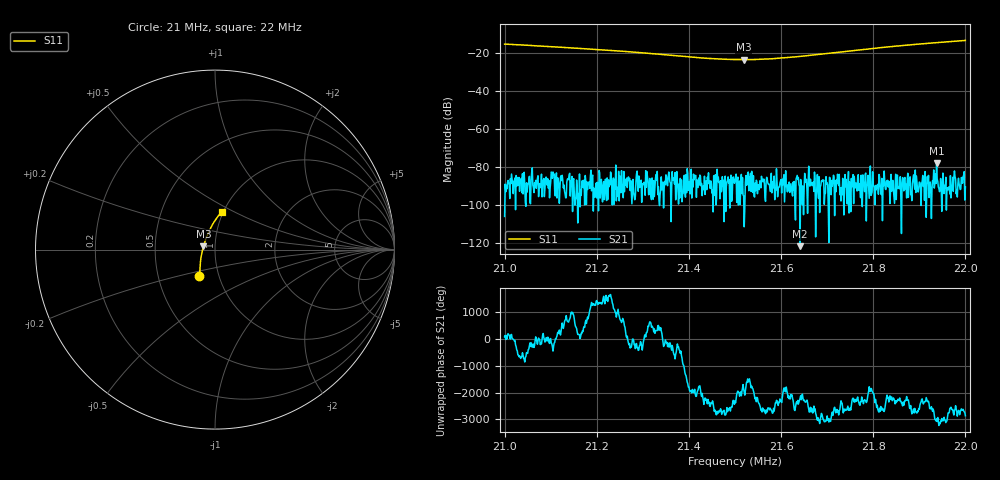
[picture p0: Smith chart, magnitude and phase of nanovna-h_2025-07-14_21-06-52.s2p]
! NanoVNA-App by OneOfEleven et al v1.1.209 (+OD18)
! Date: 2025-07-14 21:06:54
! Start: 21MHz Stop: 22MHz Points: 801
! S-Parameter data: F S11 S21 S12 S22
# Hz S RI R 50
!  Frequency  S11_Real  S11_Imag  S21_Real  S21_Imag  S12_Real  S12_Imag  S22_Real  S22_Imag
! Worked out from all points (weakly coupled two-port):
!   801 points, 21 MHz to 22 MHz, reference 50 ohm
!   highest |S21| = -78.01 dB at 21.938 MHz (marker M1); lowest = -121.6 dB at 21.641 MHz (marker M2)
!   lowest |S11| = -23.5 dB at 21.519 MHz (marker M3), VSWR 1.14, Z = 43.9 + j1.53 ohm
!   |S11| at or under -10 dB: start of sweep to end of sweep
!   S12 and S22 are empty: the file has one direction only
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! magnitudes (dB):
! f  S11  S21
! 21 MHz  -15.4  -106.0
! 21.055 MHz  -16.0  -98.5
! 21.168 MHz  -17.7  -88.3
! 21.235 MHz  -18.8  -89.1
! 21.236 MHz  -18.8  -85.8
! 21.255 MHz  -19.1  -90.9
! 21.334 MHz  -20.6  -90.3
! 21.436 MHz  -22.8  -89.7
! 21.47 MHz  -23.3  -93.1
! 21.5 MHz  -23.5  -87.1
! 21.519 MHz  -23.5  -95.2
! 21.544 MHz  -23.5  -88.4
! 21.576 MHz  -23.1  -92.7
! 21.641 MHz  -21.8  -121.6
! 21.668 MHz  -21.2  -89.8
! 21.834 MHz  -16.8  -87.4
! 21.931 MHz  -14.7  -81.5
! 21.933 MHz  -14.7  -91.1
! 21.938 MHz  -14.6  -78.0
! 21.942 MHz  -14.5  -91.3
! 21.944 MHz  -14.5  -93.0
! 22 MHz  -13.4  -90.5
